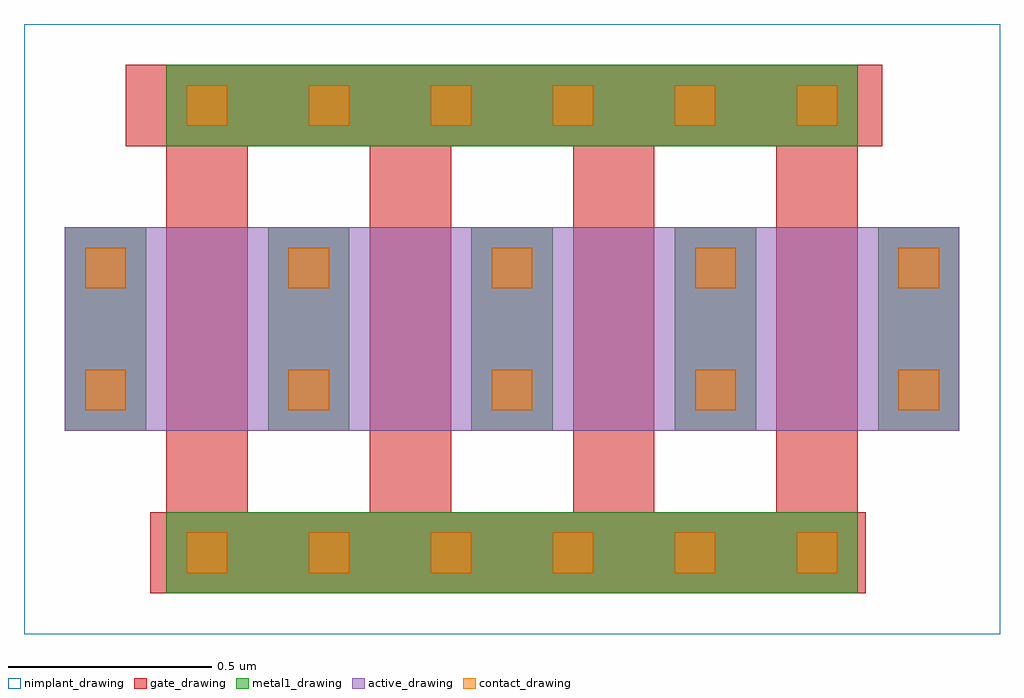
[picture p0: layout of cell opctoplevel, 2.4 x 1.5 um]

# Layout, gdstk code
import gdstk
lib = gdstk.Library(unit=1e-6, precision=1e-09)
def R(c, l, rs):  # rectangles x0, y0, x1, y1
    for r in rs: c.add(gdstk.rectangle(r[:2], r[2:], *l))
def A(c, l, x, y, w, h, nx, ny, dx, dy):  # array of equal rectangles
    R(c, l, [(x+i*dx, y+j*dy, x+i*dx+w, y+j*dy+h) for i in range(nx) for j in range(ny)])
active_drawing = (1, 0)
nimplant_drawing = (5, 0)
gate_drawing = (6, 0)
contact_drawing = (7, 0)
metal1_drawing = (8, 0)

opctoplevel = lib.new_cell('opctoplevel')
R(opctoplevel, active_drawing, [(-0.25,0,1.95,0.5)])
R(opctoplevel, nimplant_drawing, [(-0.35,-0.5,2.05,1)])
A(opctoplevel, gate_drawing, 0, -0.4, 0.2, 1.3, 4, 1, 0.5, 0)
R(opctoplevel, gate_drawing, [(-0.04,-0.4,1.72,-0.2), (-0.1,0.7,1.76,0.9)])
A(opctoplevel, contact_drawing, 0.05, -0.35, 0.1, 0.1, 6, 2, 0.3, 1.1)
A(opctoplevel, contact_drawing, -0.2, 0.05, 0.1, 0.1, 5, 2, 0.5, 0.3)
A(opctoplevel, metal1_drawing, -0.25, 0, 0.2, 0.5, 5, 1, 0.5, 0)
R(opctoplevel, metal1_drawing, [(0,-0.4,1.7,-0.2), (0,0.7,1.7,0.9)])

lib.write_gds('opctoplevel.gds')
